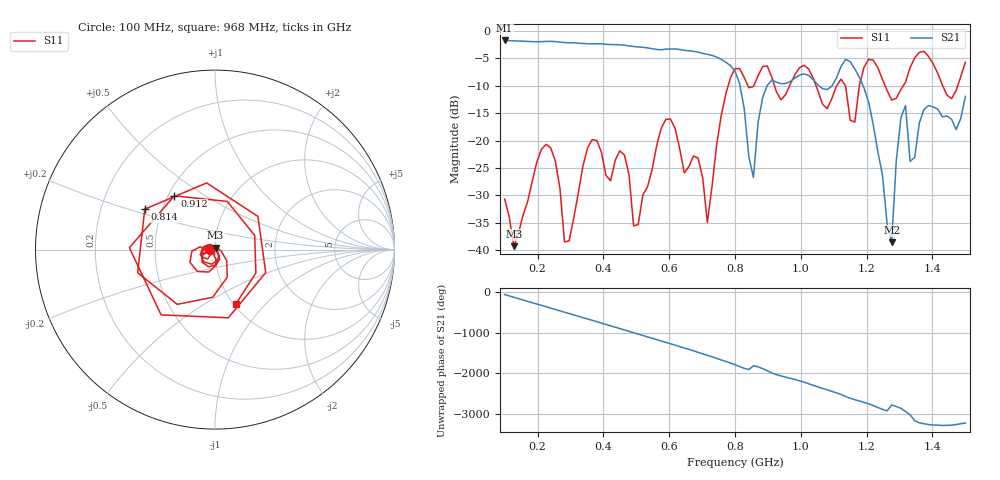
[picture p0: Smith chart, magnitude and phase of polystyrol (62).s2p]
! NanoVNA-App
! Date: 2025-09-26 09:42:22
! Start: 100MHz Stop: 1,5GHz Points: 101
! S-Parameter data: F S11 S21 S12 S22
# Hz S RI R 50
!  Frequency  S11_Real  S11_Imag  S21_Real  S21_Imag  S12_Real  S12_Imag  S22_Real  S22_Imag
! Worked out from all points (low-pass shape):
!   101 points, 100 MHz to 1.5 GHz, reference 50 ohm
!   highest |S21| = -1.79 dB at 100 MHz (marker M1); lowest = -38.5 dB at 1.276 GHz (marker M2)
!   |S21| within 3 dB of the highest: start of sweep to 743.3 MHz
!   lowest |S11| = -39.2 dB at 128 MHz (marker M3), VSWR 1.02, Z = 50.3 + j1.06 ohm
!   |S11| at or under -10 dB: start of sweep to 779.3 MHz; 1.046 GHz to 1.109 GHz (63.45 MHz wide, 5.89 % of centre); 1.256 GHz to 1.312 GHz (55.75 MHz wide, 4.34 % of centre)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
!   S12 and S22 are empty: the file has one direction only
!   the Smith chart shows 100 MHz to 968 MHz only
!   S11 on the Smith chart (normalised r, x): 100 MHz: 0.94, -0.01; 814 MHz: 0.40, +0.23; 912 MHz: 0.54, +0.38; 968 MHz: 1.02, -0.70
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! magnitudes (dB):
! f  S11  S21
! 100 MHz  -30.7  -1.8
! 128 MHz  -39.2  -1.9
! 212 MHz  -21.6  -2.0
! 254 MHz  -23.7  -2.0
! 282 MHz  -38.5  -2.2
! 338 MHz  -24.6  -2.3
! 464 MHz  -22.6  -2.6
! 506 MHz  -35.3  -3.0
! 576 MHz  -17.7  -3.5
! 688 MHz  -23.2  -3.9
! 716 MHz  -34.9  -4.3
! 800 MHz  -6.9  -7.4
! 814 MHz  -6.9  -9.6
! 856 MHz  -10.2  -26.7
! 912 MHz  -8.5  -9.0
! 968 MHz  -9.7  -9.3
! 1.038 GHz  -8.7  -8.9
! 1.178 GHz  -9.9  -8.5
! 1.276 GHz  -12.6  -38.5
! 1.318 GHz  -9.4  -13.6
! 1.332 GHz  -6.7  -23.8
! 1.5 GHz  -5.7  -12.0
